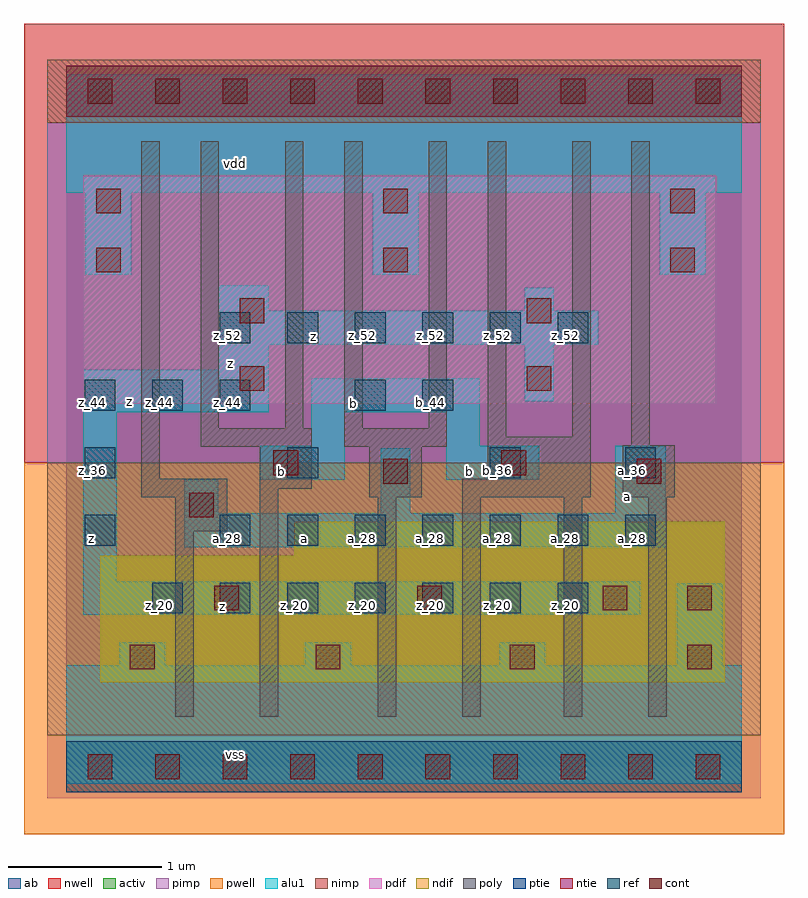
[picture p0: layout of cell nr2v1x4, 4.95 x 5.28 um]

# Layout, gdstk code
import gdstk
lib = gdstk.Library(unit=1e-6, precision=2.5e-09)
def R(c, l, rs):  # rectangles x0, y0, x1, y1
    for r in rs: c.add(gdstk.rectangle(r[:2], r[2:], *l))
def A(c, l, x, y, w, h, nx, ny, dx, dy):  # array of equal rectangles
    R(c, l, [(x+i*dx, y+j*dy, x+i*dx+w, y+j*dy+h) for i in range(nx) for j in range(ny)])
ndif = (3, 0)
pdif = (4, 0)
ntie = (5, 0)
ptie = (6, 0)
ref = (24, 0)
cont = (25, 0)
pwell = (41, 0)
nwell = (42, 0)
activ = (43, 0)
pimp = (44, 0)
nimp = (45, 0)
poly = (46, 0)
alu1 = (49, 0)
ab = (63, 0)

nr2v1x4 = lib.new_cell('nr2v1x4')
R(nr2v1x4, ndif, [(0.22,0.55,4.29,1.375), (1.485,1.375,4.29,1.595)])
R(nr2v1x4, pdif, [(0.11,2.365,4.235,3.85)])
R(nr2v1x4, ntie, [(0,4.235,4.4,4.565)])
R(nr2v1x4, ptie, [(0,-0.165,4.4,0.165)])
A(nr2v1x4, ref, 0.56, 1, 0.2, 0.2, 7, 1, 0.44, 0)
A(nr2v1x4, ref, 1, 1.44, 0.2, 0.2, 7, 1, 0.44, 0)
A(nr2v1x4, ref, 0.12, 1.88, 0.2, 0.2, 3, 1, 1.32, 0)
A(nr2v1x4, ref, 0.12, 2.32, 0.2, 0.2, 3, 1, 0.44, 0)
A(nr2v1x4, ref, 1, 2.76, 0.2, 0.2, 6, 1, 0.44, 0)
R(nr2v1x4, ref, [(0.12,1.44,0.32,1.64), (3.64,1.88,3.84,2.08), (1.88,2.32,2.08,2.52), (2.32,2.32,2.52,2.52)])
A(nr2v1x4, cont, 0.14, -0.08, 0.16, 0.16, 10, 2, 0.44, 4.4)
A(nr2v1x4, cont, 0.195, 3.22, 0.16, 0.16, 3, 2, 1.87, 0.385)
R(nr2v1x4, cont, [(0.415,0.635,0.575,0.795), (1.625,0.635,1.785,0.795), (2.89,0.635,3.05,0.795), (4.045,0.635,4.205,0.795), (0.965,1.02,1.125,1.18), (2.285,1.02,2.445,1.18), (3.495,1.02,3.655,1.18), (4.045,1.02,4.205,1.18), (0.8,1.625,0.96,1.785), (2.065,1.845,2.225,2.005), (3.715,1.845,3.875,2.005), (1.35,1.9,1.51,2.06), (2.835,1.9,2.995,2.06), (1.13,2.45,1.29,2.61), (3,2.45,3.16,2.61), (1.13,2.89,1.29,3.05), (3,2.89,3.16,3.05)])
R(nr2v1x4, pwell, [(-0.275,-0.44,4.675,1.98)])
R(nr2v1x4, nwell, [(-0.275,1.98,4.675,4.84)])
R(nr2v1x4, activ, [(0,-0.165,4.4,0.165), (0.22,0.55,4.29,1.375), (1.485,1.375,4.29,1.595), (0.11,2.365,4.235,3.85), (0,4.235,4.4,4.565)])
R(nr2v1x4, pimp, [(-0.125,-0.205,4.525,0.205), (-0.125,1.98,4.525,4.195)])
R(nr2v1x4, nimp, [(-0.125,0.205,4.525,1.98), (-0.125,4.195,4.525,4.605)])
R(nr2v1x4, poly, [(0.71,0.325,0.83,1.535), (1.26,0.325,1.38,1.81), (2.03,0.325,2.15,1.755), (2.58,0.325,2.7,1.755), (3.24,0.325,3.36,1.755), (3.79,0.325,3.91,1.755), (0.71,1.535,1.05,1.755), (0.49,1.755,1.05,1.875), (1.975,1.755,2.315,2.085), (2.58,1.755,3.415,1.875), (3.625,1.755,3.965,2.095), (1.26,1.81,1.6,2.085), (0.49,1.875,0.61,4.075), (2.745,1.875,3.415,2.15), (0.875,2.085,1.6,2.205), (1.81,2.085,2.48,2.205), (3.68,2.095,3.8,4.075), (2.745,2.15,2.865,4.075), (3.295,2.15,3.415,4.075), (0.875,2.205,0.995,4.075), (1.425,2.205,1.545,4.075), (1.81,2.205,1.93,4.075), (2.36,2.205,2.48,4.075)])
A(nr2v1x4, alu1, 0.125, 3.205, 0.3, 0.535, 3, 1, 1.87, 0)
R(nr2v1x4, alu1, [(0,-0.11,4.4,0.66), (0.345,0.66,0.645,0.81), (1.555,0.66,1.855,0.81), (2.82,0.66,3.12,0.81), (3.975,0.66,4.275,1.195), (0.11,0.99,3.74,1.21), (0.11,1.21,0.33,2.31), (0.77,1.43,3.905,1.65), (0.77,1.65,0.99,1.87), (2.05,1.65,2.24,2.075), (3.575,1.65,3.905,2.09), (1.265,1.87,1.815,2.09), (2.475,1.87,3.08,2.09), (1.595,2.09,1.815,2.31), (2.475,2.09,2.695,2.31), (0.11,2.31,1.32,2.585), (1.595,2.31,2.695,2.53), (2.985,2.38,3.175,2.75), (0.99,2.585,1.32,2.75), (0.99,2.75,3.465,2.97), (0.99,2.97,1.32,3.135), (2.985,2.97,3.175,3.12), (0,3.74,4.4,4.51)])
R(nr2v1x4, ab, [(0,0,4.4,4.4)])
nr2v1x4.add(gdstk.Label('vss', (1.1,0.0825), layer=49, texttype=0))
nr2v1x4.add(gdstk.Label('z', (1.0175,1.045), layer=49, texttype=0))
nr2v1x4.add(gdstk.Label('a', (1.5525,1.485), layer=49, texttype=0))
nr2v1x4.add(gdstk.Label('a', (3.6575,1.76), layer=49, texttype=0))
nr2v1x4.add(gdstk.Label('b', (2.625,1.925), layer=49, texttype=0))
nr2v1x4.add(gdstk.Label('b', (1.4025,1.925), layer=49, texttype=0))
nr2v1x4.add(gdstk.Label('z', (0.165,1.485), layer=49, texttype=0))
nr2v1x4.add(gdstk.Label('b', (1.87,2.365), layer=49, texttype=0))
nr2v1x4.add(gdstk.Label('z', (0.4125,2.3775), layer=49, texttype=0))
nr2v1x4.add(gdstk.Label('z', (1.0725,2.625), layer=49, texttype=0))
nr2v1x4.add(gdstk.Label('z', (1.6075,2.805), layer=49, texttype=0))
nr2v1x4.add(gdstk.Label('vdd', (1.1,3.9325), layer=49, texttype=0))
nr2v1x4.add(gdstk.Label('z_20', (0.61,1.05), layer=24, texttype=0))
nr2v1x4.add(gdstk.Label('z_44', (0.61,2.37), layer=24, texttype=0))
nr2v1x4.add(gdstk.Label('z_20', (1.05,1.05), layer=24, texttype=0))
nr2v1x4.add(gdstk.Label('a_28', (1.05,1.49), layer=24, texttype=0))
nr2v1x4.add(gdstk.Label('z_44', (1.05,2.37), layer=24, texttype=0))
nr2v1x4.add(gdstk.Label('z_52', (1.05,2.81), layer=24, texttype=0))
nr2v1x4.add(gdstk.Label('z_20', (1.49,1.05), layer=24, texttype=0))
nr2v1x4.add(gdstk.Label('a_28', (1.49,1.49), layer=24, texttype=0))
nr2v1x4.add(gdstk.Label('b_36', (1.49,1.93), layer=24, texttype=0))
nr2v1x4.add(gdstk.Label('z_52', (1.49,2.81), layer=24, texttype=0))
nr2v1x4.add(gdstk.Label('z_20', (1.93,1.05), layer=24, texttype=0))
nr2v1x4.add(gdstk.Label('a_28', (1.93,1.49), layer=24, texttype=0))
nr2v1x4.add(gdstk.Label('b_44', (1.93,2.37), layer=24, texttype=0))
nr2v1x4.add(gdstk.Label('z_52', (1.93,2.81), layer=24, texttype=0))
nr2v1x4.add(gdstk.Label('z_28', (0.17,1.49), layer=24, texttype=0))
nr2v1x4.add(gdstk.Label('z_36', (0.17,1.93), layer=24, texttype=0))
nr2v1x4.add(gdstk.Label('z_44', (0.17,2.37), layer=24, texttype=0))
nr2v1x4.add(gdstk.Label('z_20', (2.37,1.05), layer=24, texttype=0))
nr2v1x4.add(gdstk.Label('a_28', (2.37,1.49), layer=24, texttype=0))
nr2v1x4.add(gdstk.Label('b_44', (2.37,2.37), layer=24, texttype=0))
nr2v1x4.add(gdstk.Label('z_52', (2.37,2.81), layer=24, texttype=0))
nr2v1x4.add(gdstk.Label('z_20', (2.81,1.05), layer=24, texttype=0))
nr2v1x4.add(gdstk.Label('a_28', (2.81,1.49), layer=24, texttype=0))
nr2v1x4.add(gdstk.Label('b_36', (2.81,1.93), layer=24, texttype=0))
nr2v1x4.add(gdstk.Label('z_52', (2.81,2.81), layer=24, texttype=0))
nr2v1x4.add(gdstk.Label('z_20', (3.25,1.05), layer=24, texttype=0))
nr2v1x4.add(gdstk.Label('a_28', (3.25,1.49), layer=24, texttype=0))
nr2v1x4.add(gdstk.Label('z_52', (3.25,2.81), layer=24, texttype=0))
nr2v1x4.add(gdstk.Label('a_28', (3.69,1.49), layer=24, texttype=0))
nr2v1x4.add(gdstk.Label('a_36', (3.69,1.93), layer=24, texttype=0))

lib.write_gds('nr2v1x4.gds')
